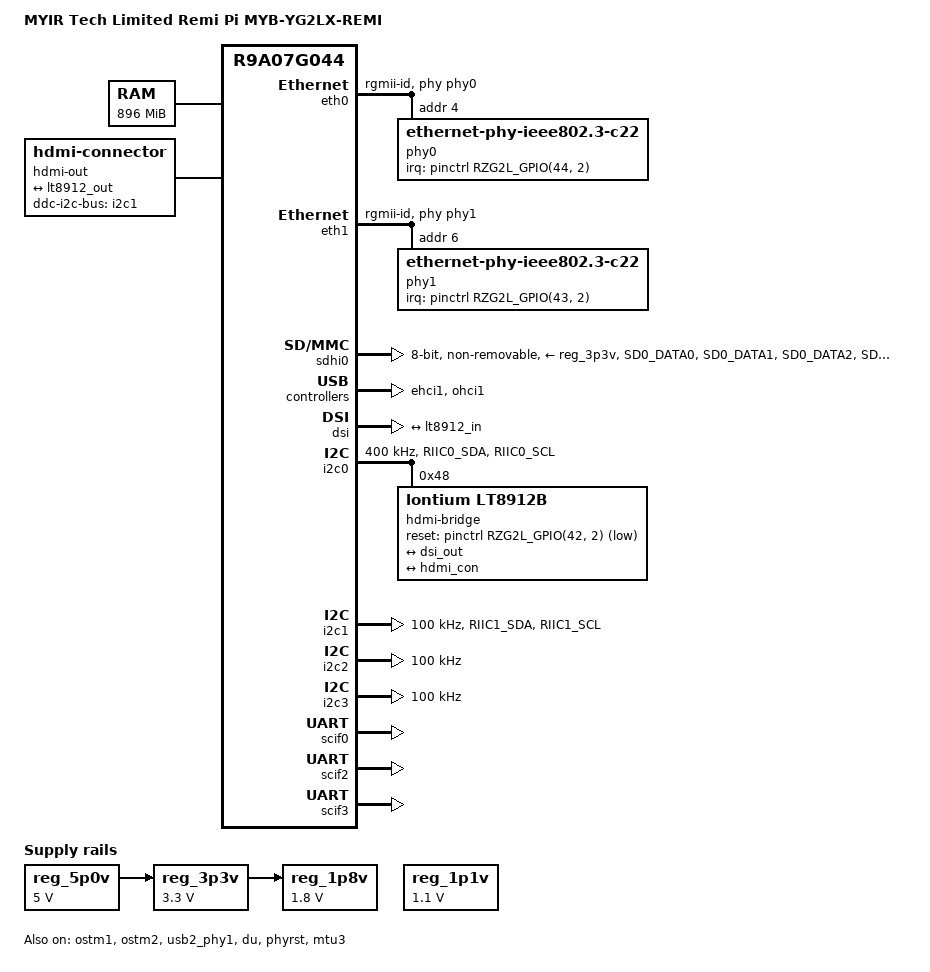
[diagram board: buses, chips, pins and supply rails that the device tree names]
// SPDX-License-Identifier: (GPL-2.0-only OR BSD-2-Clause)
/*
 * Device Tree Source for the MYiR Remi Pi
 *
 * Copyright (C) 2022 MYiR Electronics Corp.
 * Copyright (C) 2025 Collabora Ltd.
 */

/dts-v1/;

#include <dt-bindings/gpio/gpio.h>
#include <dt-bindings/pinctrl/rzg2l-pinctrl.h>

#include "r9a07g044l2.dtsi"

/ {
	model = "MYIR Tech Limited Remi Pi MYB-YG2LX-REMI";
	compatible = "myir,remi-pi", "renesas,r9a07g044l2", "renesas,r9a07g044";

	aliases {
		ethernet0 = &eth0;
		ethernet1 = &eth1;

		serial0 = &scif0;
		serial1 = &scif1;
		serial2 = &scif2;
		serial3 = &scif3;

		i2c0 = &i2c0;
		i2c1 = &i2c1;
		i2c2 = &i2c2;
		i2c3 = &i2c3;

		mmc0 = &sdhi0;
		mmc1 = &sdhi1;
	};

	chosen {
		stdout-path = "serial0:115200n8";
	};

	memory@48000000 {
		device_type = "memory";
		/* first 128MB is reserved for secure area. */
		reg = <0x0 0x48000000 0x0 0x38000000>;
	};

	reg_5p0v: regulator-5p0v {
		compatible = "regulator-fixed";
		regulator-name = "fixed-5.0V";
		regulator-min-microvolt = <5000000>;
		regulator-max-microvolt = <5000000>;
	};

	reg_3p3v: regulator-3p3v {
		compatible = "regulator-fixed";
		regulator-name = "fixed-3.3V";
		vin-supply = <&reg_5p0v>;
		regulator-min-microvolt = <3300000>;
		regulator-max-microvolt = <3300000>;
		regulator-always-on;
	};

	reg_1p8v: regulator-1p8v {
		compatible = "regulator-fixed";
		regulator-name = "fixed-1.8V";
		vin-supply = <&reg_3p3v>;
		regulator-min-microvolt = <1800000>;
		regulator-max-microvolt = <1800000>;
		regulator-always-on;
	};

	reg_1p1v: regulator-vdd-core {
		compatible = "regulator-fixed";
		regulator-name = "fixed-1.1V";
		regulator-min-microvolt = <1100000>;
		regulator-max-microvolt = <1100000>;
		regulator-always-on;
	};

	hdmi-out {
		compatible = "hdmi-connector";
		type = "a";
		ddc-i2c-bus = <&i2c1>;

		port {
			hdmi_con: endpoint {
				remote-endpoint = <&lt8912_out>;
			};
		};
	};
};

&eth0 {
	pinctrl-0 = <&eth0_pins>;
	pinctrl-names = "default";
	phy-handle = <&phy0>;
	phy-mode = "rgmii-id";
	status = "okay";

	phy0: ethernet-phy@4 {
		compatible = "ethernet-phy-ieee802.3-c22";
		reg = <4>;
		interrupts-extended = <&pinctrl RZG2L_GPIO(44, 2) IRQ_TYPE_LEVEL_LOW>;
	};
};

&eth1 {
	pinctrl-0 = <&eth1_pins>;
	pinctrl-names = "default";
	phy-handle = <&phy1>;
	phy-mode = "rgmii-id";
	status = "okay";

	phy1: ethernet-phy@6 {
		compatible = "ethernet-phy-ieee802.3-c22";
		reg = <6>;
		interrupts-extended = <&pinctrl RZG2L_GPIO(43, 2) IRQ_TYPE_LEVEL_LOW>;
	};
};

&extal_clk {
	clock-frequency = <24000000>;
};

&gpu {
	mali-supply = <&reg_1p1v>;
};

&ostm1 {
	status = "okay";
};

&ostm2 {
	status = "okay";
};

&pinctrl {
	i2c0_pins: i2c0 {
		pins = "RIIC0_SDA", "RIIC0_SCL";
		input-enable;
	};

	i2c1_pins: i2c1 {
		pins = "RIIC1_SDA", "RIIC1_SCL";
		input-enable;
	};

	i2c2_pins: i2c2 {
		pinmux = <RZG2L_PORT_PINMUX(3, 0, 2)>, /* SDA */
			 <RZG2L_PORT_PINMUX(3, 1, 2)>; /* SCL */
	};

	i2c3_pins: i2c3 {
		pinmux = <RZG2L_PORT_PINMUX(18, 0, 3)>, /* SDA */
			 <RZG2L_PORT_PINMUX(18, 1, 3)>; /* SCL */
	};

	spi0_pins: spi0 {
		pinmux = <RZG2L_PORT_PINMUX(47, 0, 5)>, /* CLK */
			 <RZG2L_PORT_PINMUX(47, 1, 5)>, /* MOSI */
			 <RZG2L_PORT_PINMUX(47, 2, 5)>, /* MISO */
			 <RZG2L_PORT_PINMUX(47, 3, 5)>; /* Chip Enable*/
	};

	eth0_pins: eth0 {
		pinmux = <RZG2L_PORT_PINMUX(27, 1, 1)>, /* ET0_MDC */
			 <RZG2L_PORT_PINMUX(28, 0, 1)>, /* ET0_MDIO */
			 <RZG2L_PORT_PINMUX(20, 0, 1)>, /* ET0_TXC */
			 <RZG2L_PORT_PINMUX(20, 1, 1)>, /* ET0_TX_CTL */
			 <RZG2L_PORT_PINMUX(20, 2, 1)>, /* ET0_TXD0 */
			 <RZG2L_PORT_PINMUX(21, 0, 1)>, /* ET0_TXD1 */
			 <RZG2L_PORT_PINMUX(21, 1, 1)>, /* ET0_TXD2 */
			 <RZG2L_PORT_PINMUX(22, 0, 1)>, /* ET0_TXD3 */
			 <RZG2L_PORT_PINMUX(24, 0, 1)>, /* ET0_RXC */
			 <RZG2L_PORT_PINMUX(24, 1, 1)>, /* ET0_RX_CTL */
			 <RZG2L_PORT_PINMUX(25, 0, 1)>, /* ET0_RXD0 */
			 <RZG2L_PORT_PINMUX(25, 1, 1)>, /* ET0_RXD1 */
			 <RZG2L_PORT_PINMUX(26, 0, 1)>, /* ET0_RXD2 */
			 <RZG2L_PORT_PINMUX(26, 1, 1)>; /* ET0_RXD3 */
	};

	eth1_pins: eth1 {
		pinmux = <RZG2L_PORT_PINMUX(37, 0, 1)>, /* ET1_MDC */
			 <RZG2L_PORT_PINMUX(37, 1, 1)>, /* ET1_MDIO */
			 <RZG2L_PORT_PINMUX(29, 0, 1)>, /* ET1_TXC */
			 <RZG2L_PORT_PINMUX(29, 1, 1)>, /* ET1_TX_CTL */
			 <RZG2L_PORT_PINMUX(30, 0, 1)>, /* ET1_TXD0 */
			 <RZG2L_PORT_PINMUX(30, 1, 1)>, /* ET1_TXD1 */
			 <RZG2L_PORT_PINMUX(31, 0, 1)>, /* ET1_TXD2 */
			 <RZG2L_PORT_PINMUX(31, 1, 1)>, /* ET1_TXD3 */
			 <RZG2L_PORT_PINMUX(33, 1, 1)>, /* ET1_RXC */
			 <RZG2L_PORT_PINMUX(34, 0, 1)>, /* ET1_RX_CTL */
			 <RZG2L_PORT_PINMUX(34, 1, 1)>, /* ET1_RXD0 */
			 <RZG2L_PORT_PINMUX(35, 0, 1)>, /* ET1_RXD1 */
			 <RZG2L_PORT_PINMUX(35, 1, 1)>, /* ET1_RXD2 */
			 <RZG2L_PORT_PINMUX(36, 0, 1)>; /* ET1_RXD3 */
	};

	sdhi0_pins: sd0 {
		sd0_data {
			pins = "SD0_DATA0", "SD0_DATA1", "SD0_DATA2", "SD0_DATA3",
			       "SD0_DATA4", "SD0_DATA5", "SD0_DATA6", "SD0_DATA7";
			power-source = <1800>;
		};

		sd0_ctrl {
			pins = "SD0_CLK", "SD0_CMD";
			power-source = <1800>;
		};

		sd0_rst {
			pins = "SD0_RST#";
			power-source = <1800>;
		};
	};

	sdhi0_pins_uhs: sd0_uhs {
		sd0_data_uhs {
			pins = "SD0_DATA0", "SD0_DATA1", "SD0_DATA2", "SD0_DATA3",
			       "SD0_DATA4", "SD0_DATA5", "SD0_DATA6", "SD0_DATA7";
			power-source = <1800>;
		};

		sd0_ctrl_uhs {
			pins = "SD0_CLK", "SD0_CMD";
			power-source = <1800>;
		};

		sd0_rst_uhs {
			pins = "SD0_RST#";
			power-source = <1800>;
		};
	};

	usb1_pins: usb1 {
		pinmux = <RZG2L_PORT_PINMUX(42, 0, 1)>, /* VBUS */
			 <RZG2L_PORT_PINMUX(42, 1, 1)>; /* OVC */
	};

	scif0_pins: scif0 {
		pinmux = <RZG2L_PORT_PINMUX(38, 0, 1)>, /* TxD */
			 <RZG2L_PORT_PINMUX(38, 1, 1)>; /* RxD */
	};

	scif1_pins: scif1 {
		pinmux = <RZG2L_PORT_PINMUX(40, 0, 1)>, /* TxD */
			 <RZG2L_PORT_PINMUX(40, 1, 1)>; /* RxD */
	};

	scif2_pins: scif2 {
		pinmux = <RZG2L_PORT_PINMUX(48, 0, 1)>, /* TxD */
			 <RZG2L_PORT_PINMUX(48, 1, 1)>; /* RxD */
	};

	scif3_pins: scif3 {
		pinmux = <RZG2L_PORT_PINMUX(0, 0, 5)>, /* TxD */
			 <RZG2L_PORT_PINMUX(0, 1, 5)>; /* RxD */
	};
};

&sdhi0 {
	pinctrl-0 = <&sdhi0_pins>;
	pinctrl-1 = <&sdhi0_pins_uhs>;
	pinctrl-names = "default", "state_uhs";

	vmmc-supply = <&reg_3p3v>;
	vqmmc-supply = <&reg_1p8v>;
	bus-width = <8>;
	mmc-hs200-1_8v;
	non-removable;
	fixed-emmc-driver-type = <1>;
	status = "okay";
};

&usb2_phy1 {
	pinctrl-0 = <&usb1_pins>;
	pinctrl-names = "default";

	status = "okay";
};

&ehci1 {
	status = "okay";
};

&ohci1 {
	status = "okay";
};

&dsi {
	status = "okay";
	ports {
		port@1 {
			dsi_out: endpoint {
				remote-endpoint = <&lt8912_in>;
				data-lanes = <1 2 3 4>;
			};
		};
	};
};

&du {
	status = "okay";
};

&i2c0 {
	pinctrl-0 = <&i2c0_pins>;
	pinctrl-names = "default";

	clock-frequency = <400000>;
	status = "okay";

	hdmi-bridge@48 {
		compatible = "lontium,lt8912b";
		reg = <0x48> ;
		reset-gpios = <&pinctrl RZG2L_GPIO(42, 2) GPIO_ACTIVE_LOW>;

		ports {
			#address-cells = <1>;
			#size-cells = <0>;

			port@0 {
				reg = <0>;

				lt8912_in: endpoint {
					data-lanes = <1 2 3 4>;
					remote-endpoint = <&dsi_out>;
				};
			};

			port@1 {
				reg = <1>;

				lt8912_out: endpoint {
					remote-endpoint = <&hdmi_con>;
				};
			};
		};
	};
};

&i2c1 {
	pinctrl-0 = <&i2c1_pins>;
	pinctrl-names = "default";
	clock-frequency = <100000>;
	status = "okay";
};

&i2c2 {
	pinctrl-0 = <&i2c2_pins>;
	pinctrl-names = "default";
	clock-frequency = <100000>;
	status = "okay";
};

&i2c3 {
	pinctrl-0 = <&i2c3_pins>;
	pinctrl-names = "default";
	clock-frequency = <100000>;
	status = "okay";
};

&scif0 {
	pinctrl-0 = <&scif0_pins>;
	pinctrl-names = "default";
	status = "okay";
};

&scif2 {
	pinctrl-0 = <&scif2_pins>;
	pinctrl-names = "default";
	status = "okay";
};

&scif3 {
	pinctrl-0 = <&scif3_pins>;
	pinctrl-names = "default";
	status = "okay";
};

&phyrst {
	status = "okay";
};

&mtu3 {
	status = "okay";
};
